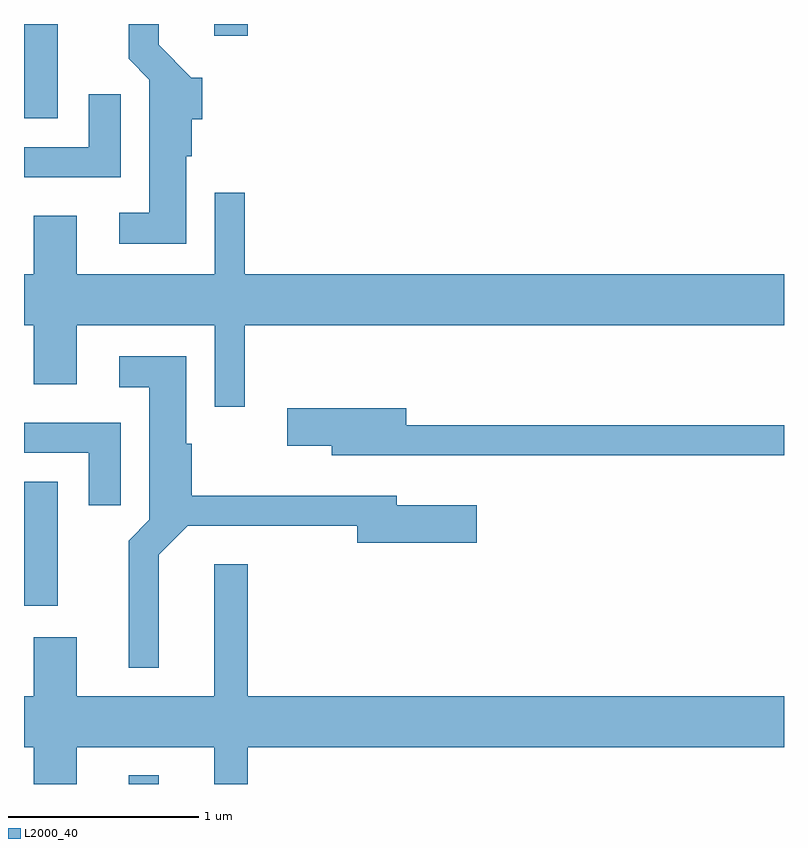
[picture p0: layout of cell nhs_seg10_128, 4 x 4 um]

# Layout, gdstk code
import gdstk
lib = gdstk.Library(unit=1e-6, precision=1e-09)
def R(c, l, rs):  # rectangles x0, y0, x1, y1
    for r in rs: c.add(gdstk.rectangle(r[:2], r[2:], *l))
def P(c, l, *ps):  # polygons
    for p in ps: c.add(gdstk.Polygon(p, *l))
L2000_40 = (2000, 40)

nhs_seg10_128 = lib.new_cell('nhs_seg10_128')
R(nhs_seg10_128, L2000_40, [(188.161,2202.522,188.319,2202.568), (187.611,2203.461,187.789,2204.114), (187.611,2206.026,187.789,2206.522), (188.611,2206.461,188.789,2206.522)])
P(nhs_seg10_128, L2000_40, [(188.464,2205.826),(188.494,2205.826),(188.494,2206.021),(188.549,2206.021),(188.549,2206.239),(188.492,2206.239),(188.319,2206.412),(188.319,2206.522),(188.161,2206.522),(188.161,2206.339),(188.271,2206.229),(188.271,2205.529),(188.113,2205.529),(188.113,2205.366),(188.464,2205.366)],
  [(188.119,2206.153),(187.951,2206.153),(187.951,2205.874),(187.611,2205.874),(187.611,2205.716),(188.119,2205.716)],
  [(188.774,2204.936),(191.611,2204.936),(191.611,2205.204),(188.774,2205.204),(188.774,2205.633),(188.616,2205.633),(188.616,2205.204),(187.889,2205.204),(187.889,2205.514),(187.661,2205.514),(187.661,2205.204),(187.611,2205.204),(187.611,2204.936),(187.661,2204.936),(187.661,2204.626),(187.889,2204.626),(187.889,2204.936),(188.616,2204.936),(188.616,2204.508),(188.774,2204.508)],
  [(188.319,2203.729),(188.472,2203.881),(189.366,2203.881),(189.366,2203.791),(189.994,2203.791),(189.994,2203.989),(189.574,2203.989),(189.574,2204.039),(188.494,2204.039),(188.494,2204.314),(188.464,2204.314),(188.464,2204.774),(188.113,2204.774),(188.113,2204.611),(188.271,2204.611),(188.271,2203.912),(188.161,2203.802),(188.161,2203.133),(188.319,2203.133)],
  [(191.611,2204.409),(189.624,2204.409),(189.624,2204.499),(188.996,2204.499),(188.996,2204.301),(189.231,2204.301),(189.231,2204.251),(191.611,2204.251)],
  [(188.119,2204.424),(187.611,2204.424),(187.611,2204.266),(187.951,2204.266),(187.951,2203.988),(188.119,2203.988)],
  [(187.889,2202.716),(188.611,2202.716),(188.611,2202.522),(188.789,2202.522),(188.789,2202.716),(191.611,2202.716),(191.611,2202.984),(188.789,2202.984),(188.789,2203.679),(188.611,2203.679),(188.611,2202.984),(187.889,2202.984),(187.889,2203.294),(187.661,2203.294),(187.661,2202.984),(187.611,2202.984),(187.611,2202.716),(187.661,2202.716),(187.661,2202.522),(187.889,2202.522)])

lib.write_gds('nhs_seg10_128.gds')
